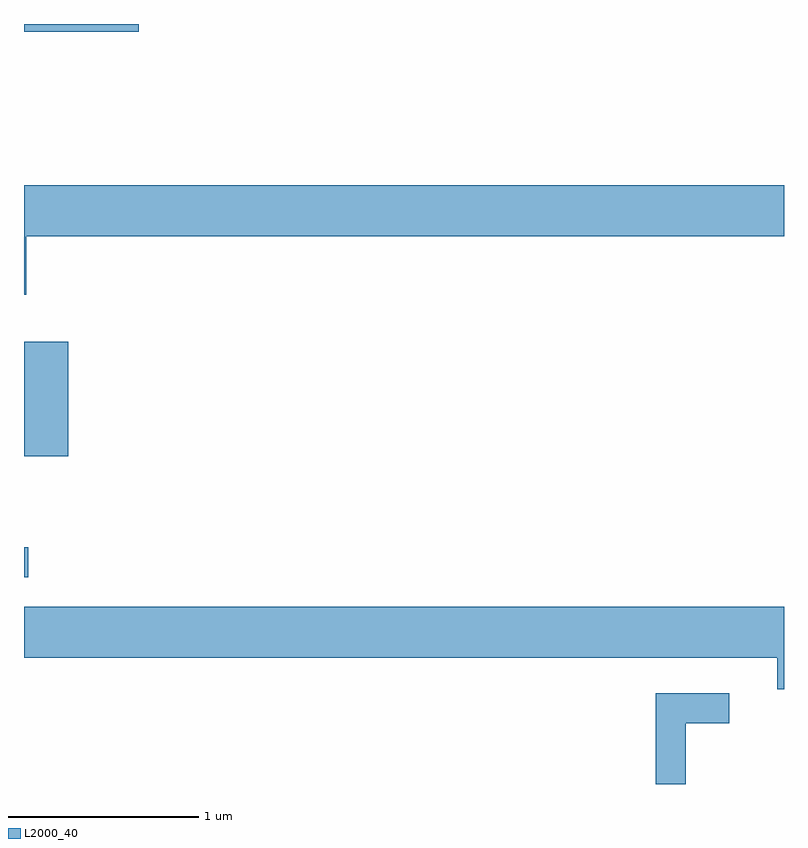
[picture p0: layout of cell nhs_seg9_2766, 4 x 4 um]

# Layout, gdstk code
import gdstk
lib = gdstk.Library(unit=1e-6, precision=1e-09)
def R(c, l, rs):  # rectangles x0, y0, x1, y1
    for r in rs: c.add(gdstk.rectangle(r[:2], r[2:], *l))
def P(c, l, *ps):  # polygons
    for p in ps: c.add(gdstk.Polygon(p, *l))
L2000_40 = (2000, 40)

nhs_seg9_2766 = lib.new_cell('nhs_seg9_2766')
R(nhs_seg9_2766, L2000_40, [(265.611,2045.521,265.633,2045.679), (265.611,2046.156,265.844,2046.759), (265.611,2048.391,266.214,2048.432)])
P(nhs_seg9_2766, L2000_40, [(265.624,2047.316),(269.611,2047.316),(269.611,2047.584),(265.611,2047.584),(265.611,2047.006),(265.624,2047.006)],
  [(269.611,2045.364),(265.611,2045.364),(265.611,2045.096),(269.576,2045.096),(269.576,2044.931),(269.611,2044.931)],
  [(269.094,2044.751),(269.323,2044.751),(269.323,2044.909),(268.936,2044.909),(268.936,2044.432),(269.094,2044.432)])

lib.write_gds('nhs_seg9_2766.gds')
